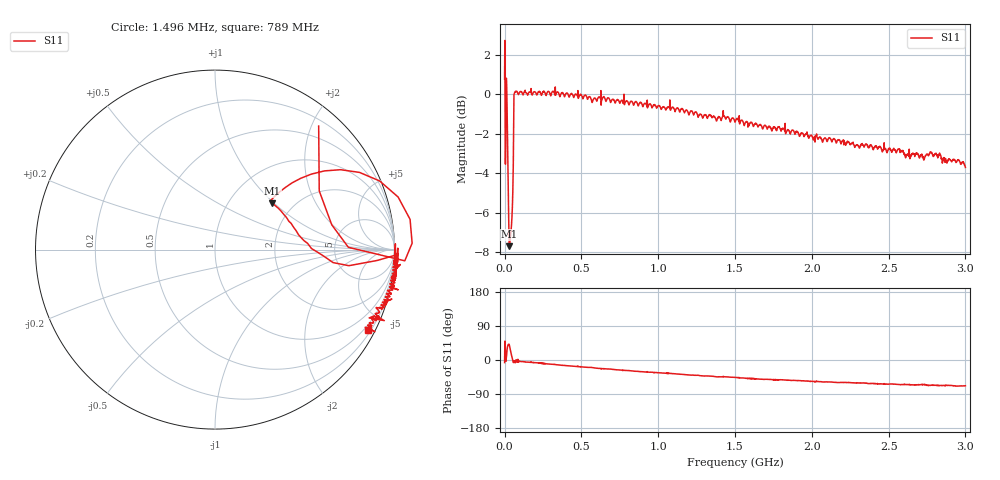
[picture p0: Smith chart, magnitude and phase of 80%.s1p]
# HZ S RI R 50
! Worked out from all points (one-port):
!   2020 points, 10 kHz to 3 GHz, reference 50 ohm
!   lowest |S11| = -7.7 dB at 31.21 MHz (marker M1), VSWR 2.40, Z = 78.5 + j48.9 ohm
!   |S11| at or under -10 dB: nowhere
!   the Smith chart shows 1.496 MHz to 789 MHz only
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10000  1.086 -0.1306
5953516  0.6506 0.138
1.635467e7  0.8052 0.4301
1.932643e7  0.6102 0.4386
2.378406e7  0.4282 0.371
2.675582e7  0.3577 0.3191
3.121346e7  0.3202 0.2586
3.715698e7  0.3832 0.1962
4.310049e7  0.4384 0.1235
5.350164e7  0.5671 -0.0118
6.39028e7  1.005 -0.0508
7.133219e7  1.017 -0.019
7.578983e7  1.018 0.00758
3.759374e8  0.9814 -0.2447
7.503789e8  0.8518 -0.4197
1.126306e9  0.7354 -0.5572
1.380392e9  0.6114 -0.6002
1.438341e9  0.621 -0.6069
1.500748e9  0.5908 -0.6125
1.670138e9  0.529 -0.6457
1.875189e9  0.4797 -0.6555
2.072811e9  0.4032 -0.6471
2.251117e9  0.3788 -0.6416
2.575038e9  0.3011 -0.6452
2.625558e9  0.2976 -0.6338
2.728084e9  0.2892 -0.6181
2.769688e9  0.2775 -0.6571
3e9  0.244 -0.6052
